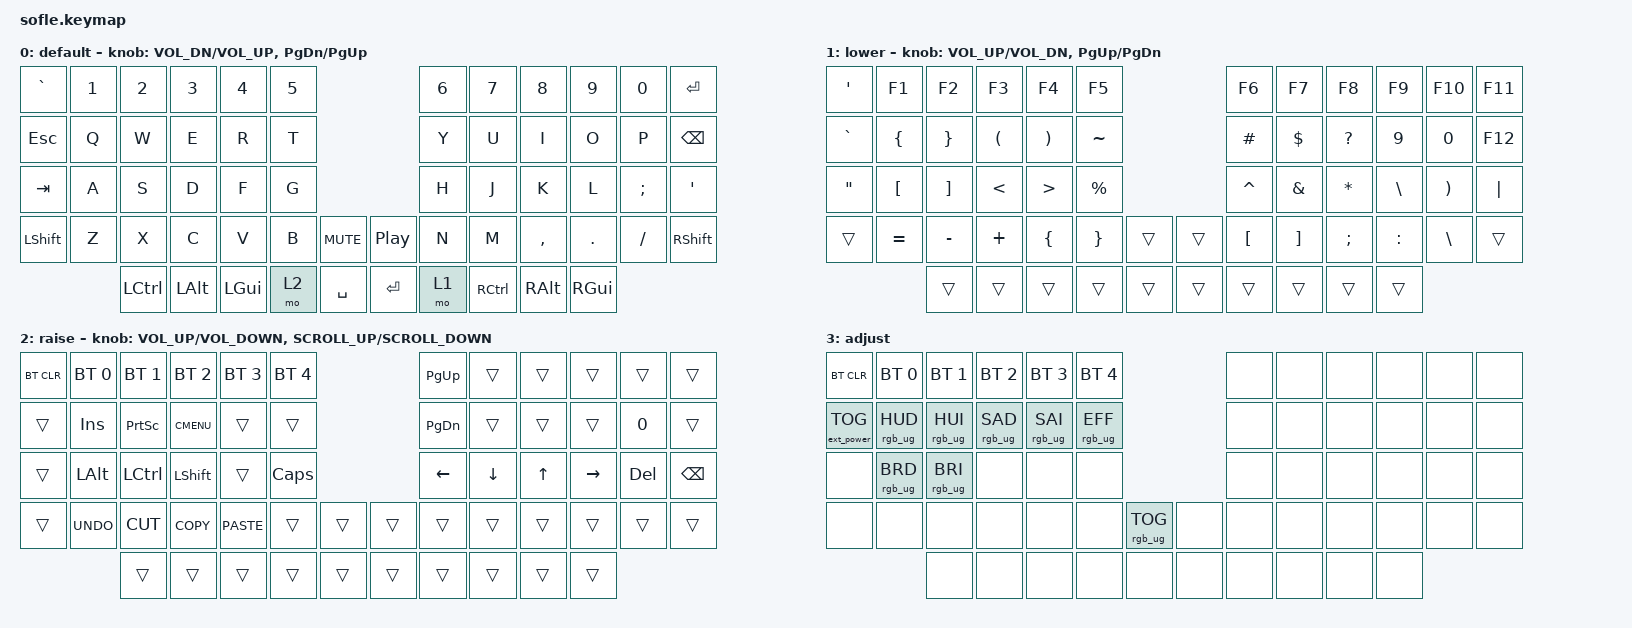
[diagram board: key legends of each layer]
/*
 * Copyright (c) 2020 The ZMK Contributors
 *
 * SPDX-License-Identifier: MIT
 */

#include <behaviors.dtsi>
#include <dt-bindings/zmk/bt.h>
#include <dt-bindings/zmk/ext_power.h>
#include <dt-bindings/zmk/keys.h>
#include <dt-bindings/zmk/rgb.h>

#define BASE 0
#define LOWER 1
#define RAISE 2
#define ADJUST 3

/ {
    // Activate ADJUST layer by pressing raise and lower

    conditional_layers {
        compatible = "zmk,conditional-layers";

        adjust_layer {
            if-layers = <LOWER RAISE>;
            then-layer = <ADJUST>;
        };
    };

    macros {
        chavs: chavs {
            compatible = "zmk,behavior-macro";
            #binding-cells = <0>;
            bindings = <&none>;
            label = "CHAVS";
        };
    };

    keymap {
        compatible = "zmk,keymap";

        default_layer {
            display-name = "default";

            // ------------------------------------------------------------------------------------------------------------
            // |   `   |  1  |  2  |  3   |  4   |  5   |                   |  6   |  7    |  8    |  9   |   0   |       |
            // |  ESC  |  Q  |  W  |  E   |  R   |  T   |                   |  Y   |  U    |  I    |  O   |   P   | BKSPC |
            // |  TAB  |  A  |  S  |  D   |  F   |  G   |                   |  H   |  J    |  K    |  L   |   ;   |   '   |
            // | SHIFT |  Z  |  X  |  C   |  V   |  B   |  MUTE  |  |       |  N   |  M    |  ,    |  .   |   /   | SHIFT |
            //               | GUI | ALT  | CTRL | LOWER|  ENTER |  | SPACE | RAISE| CTRL  | ALT   | GUI  |

            bindings = <
&kp GRAVE  &kp N1  &kp N2            &kp N3    &kp N4    &kp N5                                  &kp N6  &kp N7     &kp N8     &kp N9    &kp N0    &kp ENTER
&kp ESC    &kp Q   &kp W             &kp E     &kp R     &kp T                                   &kp Y   &kp U      &kp I      &kp O     &kp P     &kp BSPC
&kp TAB    &kp A   &kp S             &kp D     &kp F     &kp G                                   &kp H   &kp J      &kp K      &kp L     &kp SEMI  &kp SQT
&kp LSHFT  &kp Z   &kp X             &kp C     &kp V     &kp B   &kp C_MUTE    &kp C_PLAY_PAUSE  &kp N   &kp M      &kp COMMA  &kp DOT   &kp FSLH  &kp RSHFT
                   &kp LEFT_CONTROL  &kp LALT  &kp LGUI  &mo 2   &kp SPACE     &kp ENTER         &mo 1   &kp RCTRL  &kp RALT   &kp RGUI
            >;

            sensor-bindings =
                <&inc_dec_kp C_VOL_DN C_VOL_UP>,
                <&inc_dec_kp PAGE_DOWN PG_UP>;
        };

        lower_layer {
            display-name = "lower";

            // TODO: Some binds are waiting for shifted keycode support.
            // ------------------------------------------------------------------------------------------------------------
            // |       |  F1 |  F2 |  F3  |  F4  |  F5  |                   |  F6  |  F7   |  F8   |  F9  |  F10  |  F11  |
            // |   `   |  1  |  2  |  3   |  4   |  5   |                   |  6   |  7    |  8    |  9   |   0   |  F12  |
            // |       |  !  |  @  |  #   |  $   |  %   |                   |  ^   |  &    |  *    |  (   |   )   |   |   |
            // |       |  =  |  -  |  +   |  {   |  }   |        |  |       |  [   |  ]    |  ;    |  :   |   \   |       |
            //               |     |      |      |      |        |  |       |      |       |       |      |

            bindings = <
&kp APOS           &kp F1            &kp F2             &kp F3                &kp F4                 &kp F5                       &kp F6     &kp F7      &kp F8        &kp F9         &kp F10   &kp F11
&kp GRAVE          &kp LEFT_BRACE    &kp RIGHT_BRACE    &kp LEFT_PARENTHESIS  &kp RIGHT_PARENTHESIS  &kp TILDE                    &kp HASH   &kp DOLLAR  &kp QUESTION  &kp N9         &kp N0    &kp F12
&kp DOUBLE_QUOTES  &kp LEFT_BRACKET  &kp RIGHT_BRACKET  &kp LESS_THAN         &kp GREATER_THAN       &kp PRCNT                    &kp CARET  &kp AMPS    &kp ASTRK     &kp BACKSLASH  &kp RPAR  &kp PIPE
&trans             &kp EQUAL         &kp MINUS          &kp PLUS              &kp LBRC               &kp RBRC   &trans    &trans  &kp LBKT   &kp RBKT    &kp SEMI      &kp COLON      &kp BSLH  &trans
                                     &trans             &trans                &trans                 &trans     &trans    &trans  &trans     &trans      &trans        &trans
            >;

            sensor-bindings = <&inc_dec_kp C_VOL_UP C_VOL_DN &inc_dec_kp PG_UP PG_DN>;
        };

        raise_layer {
            display-name = "raise";

            // ------------------------------------------------------------------------------------------------------------
            // | BTCLR | BT1  | BT2  |  BT3  |  BT4  |  BT5 |                |      |      |       |      |       |       |
            // |       | INS  | PSCR | GUI   |       |      |                | PGUP |      |   ^   |      |       |       |
            // |       | ALT  | CTRL | SHIFT |       | CAPS |                | PGDN |   <- |   v   |  ->  |  DEL  | BKSPC |
            // |       | UNDO | CUT  | COPY  | PASTE |      |      |  |      |      |      |       |      |       |       |
            //                |      |       |       |      |      |  |      |      |      |       |      |

            bindings = <
&bt BT_CLR  &bt BT_SEL 0  &bt BT_SEL 1  &bt BT_SEL 2  &bt BT_SEL 3  &bt BT_SEL 4                    &kp PAGE_UP    &trans          &trans        &trans     &trans   &trans
&trans      &kp INS       &kp PSCRN     &kp K_CMENU   &trans        &trans                          &kp PAGE_DOWN  &trans          &trans        &trans     &kp N0   &trans
&trans      &kp LALT      &kp LCTRL     &kp LSHFT     &trans        &kp CLCK                        &kp LEFT       &kp DOWN_ARROW  &kp UP_ARROW  &kp RIGHT  &kp DEL  &kp BSPC
&trans      &kp K_UNDO    &kp K_CUT     &kp K_COPY    &kp K_PASTE   &trans        &trans    &trans  &trans         &trans          &trans        &trans     &trans   &trans
                          &trans        &trans        &trans        &trans        &trans    &trans  &trans         &trans          &trans        &trans
            >;

            sensor-bindings =
                <&inc_dec_kp K_VOLUME_UP K_VOLUME_DOWN>,
                <&inc_dec_kp K_SCROLL_UP K_SCROLL_DOWN>;
        };

        adjust_layer {
            // ----------------------------------------------------------------------------------------------------------------------------
            // | BTCLR  |  BT1    |  BT2    |   BT3   |   BT4   |   BT5   |                  |      |      |       |      |       |       |
            // | EXTPWR | RGB_HUD | RGB_HUI | RGB_SAD | RGB_SAI | RGB_EFF |                  |      |      |       |      |       |       |
            // |        | RGB_BRD | RGB_BRI |         |         |         |                  |      |      |       |      |       |       |
            // |        |         |         |         |         |         | RGB_TOG | |      |      |      |       |      |       |       |
            //                    |         |         |         |         |         | |      |      |      |       |      |

            display-name = "adjust";
            bindings = <
&bt BT_CLR         &bt BT_SEL 0     &bt BT_SEL 1     &bt BT_SEL 2     &bt BT_SEL 3     &bt BT_SEL 4                               &none  &none  &none  &none  &none  &none
&ext_power EP_TOG  &rgb_ug RGB_HUD  &rgb_ug RGB_HUI  &rgb_ug RGB_SAD  &rgb_ug RGB_SAI  &rgb_ug RGB_EFF                            &none  &none  &none  &none  &none  &none
&none              &rgb_ug RGB_BRD  &rgb_ug RGB_BRI  &none            &none            &none                                      &none  &none  &none  &none  &none  &none
&none              &none            &none            &none            &none            &none            &rgb_ug RGB_TOG    &none  &none  &none  &none  &none  &none  &none
                                    &none            &none            &none            &none            &none              &none  &none  &none  &none  &none
            >;
        };
    };
};
